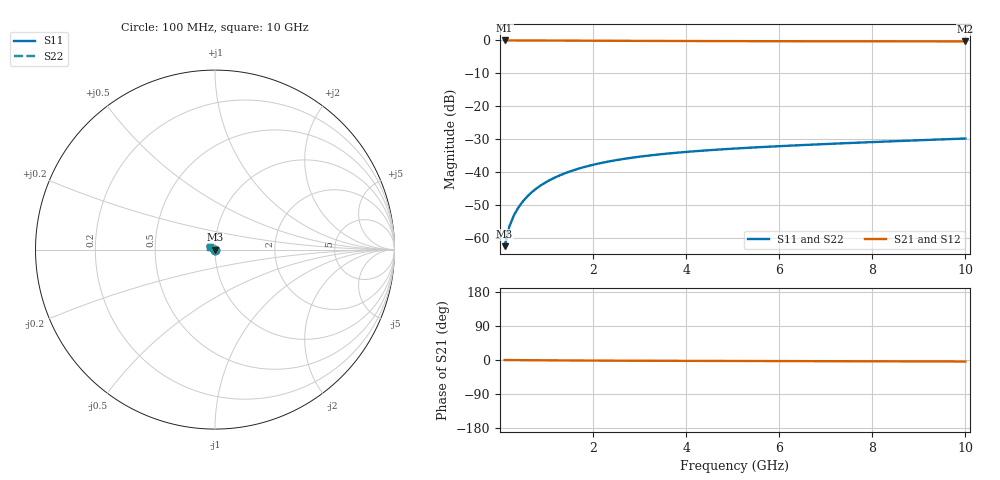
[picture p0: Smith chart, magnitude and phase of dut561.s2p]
! Touchstone file exported from HFSS 2024.1.0
!  File:  C:/UserFiles/LocalFiles/RDL_TSV_Batchsim/temp_TSV1_561_1779707420.aedt
!  Generated:  07:15:13 PM May 25, 2026
!  Design:  TSV1
!  Project:  temp_TSV1_561_1779707420
!  Setup:  Setup1
!  Solution:  Sweep
! Variables:
!  dtsv = 9.17um
!  hbump = 3um
!  htsv = 55.73um
!  lrdl = 252.1521522um
!  p = 40
!  p1 = 58.56um
!  t = 500um
!  trdl = 3um
!  wrdl = 24.89489489um
# GHz S MA R 50.000000
! Terminal data exported
! Port[1] = TSV22_T1
! Port[2] = TSV22_T2
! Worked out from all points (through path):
!   100 points, 100 MHz to 10 GHz, reference 50 ohm
!   highest |S21| = 0.00 dB at 100 MHz (marker M1); lowest = -0.3 dB at 10 GHz (marker M2)
!   lowest |S11| = -62.5 dB at 100 MHz (marker M3), VSWR 1.00, Z = 50 - j0.074 ohm
!   |S11| at or under -10 dB: start of sweep to end of sweep
!   |S22| runs from -62.5 to -29.8 dB; largest |S21 - S12| = 3.6e-15
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0.1  0.0007481 -81.6  0.9998 -0.1  0.9998 -0.1  0.0007481 -81.6
! Gamma 0 0 0 0
! Port Impedance 50 0 50 0
0.2  0.001475 -89.2  0.9997 -0.2  0.9997 -0.2  0.001475 -89.2
0.3  0.002203 -93.3  0.9996 -0.3  0.9996 -0.3  0.002203 -93.3
0.4  0.002927 -96.5  0.9994 -0.4  0.9994 -0.4  0.002927 -96.5
0.5  0.003645 -99.3  0.9991 -0.5  0.9991 -0.5  0.003645 -99.3
0.6  0.004355 -101.9  0.9987 -0.5  0.9987 -0.5  0.004355 -101.9
0.7  0.005056 -104.4  0.9984 -0.6  0.9984 -0.6  0.005056 -104.4
0.8  0.005747 -106.8  0.9979 -0.7  0.9979 -0.7  0.005747 -106.8
0.9  0.006425 -109.2  0.9975 -0.8  0.9975 -0.8  0.006425 -109.2
1.1  0.007743 -113.7  0.9964 -0.9  0.9964 -0.9  0.007743 -113.7
1.4  0.009607 -120.0  0.9947 -1.2  0.9947 -1.2  0.009607 -120.0
1.6  0.01077 -124.1  0.9935 -1.3  0.9935 -1.3  0.01077 -124.1
1.8  0.01186 -128.0  0.9922 -1.4  0.9922 -1.4  0.01186 -128.0
2.1  0.01338 -133.5  0.9903 -1.6  0.9903 -1.6  0.01338 -133.5
2.5  0.01519 -140.3  0.9878 -1.8  0.9878 -1.8  0.01519 -140.3
2.9  0.01677 -146.6  0.9854 -1.9  0.9854 -1.9  0.01677 -146.6
3.4  0.01848 -153.7  0.9828 -2.1  0.9828 -2.1  0.01848 -153.7
4.2  0.02075 -163.7  0.9793 -2.4  0.9793 -2.4  0.02075 -163.7
5.1  0.02288 -173.2  0.9763 -2.6  0.9763 -2.6  0.02288 -173.2
6.7  0.0261 173.2  0.9726 -3.0  0.9726 -3.0  0.0261 173.2
8.4  0.0293 161.8  0.9701 -3.5  0.9701 -3.5  0.0293 161.8
10  0.03236 153.2  0.9685 -4.0  0.9685 -4.0  0.03236 153.2
